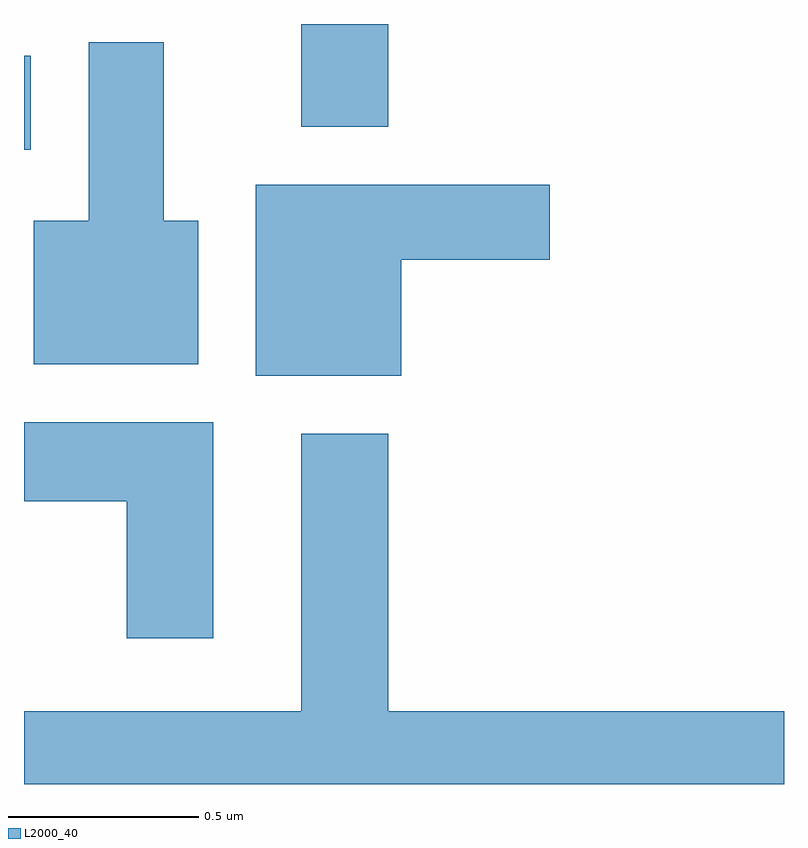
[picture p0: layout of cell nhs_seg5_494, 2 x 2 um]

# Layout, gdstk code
import gdstk
lib = gdstk.Library(unit=1e-6, precision=1e-09)
def R(c, l, rs):  # rectangles x0, y0, x1, y1
    for r in rs: c.add(gdstk.rectangle(r[:2], r[2:], *l))
def P(c, l, *ps):  # polygons
    for p in ps: c.add(gdstk.Polygon(p, *l))
L2000_40 = (2000, 40)

nhs_seg5_494 = lib.new_cell('nhs_seg5_494')
R(nhs_seg5_494, L2000_40, [(188.611,1480.741,188.629,1480.989), (189.341,1480.801,189.569,1481.072)])
P(nhs_seg5_494, L2000_40, [(189.069,1480.554),(188.979,1480.554),(188.979,1481.024),(188.781,1481.024),(188.781,1480.554),(188.636,1480.554),(188.636,1480.176),(189.069,1480.176)],
  [(189.604,1480.451),(189.994,1480.451),(189.994,1480.649),(189.221,1480.649),(189.221,1480.146),(189.604,1480.146)],
  [(189.109,1480.024),(188.611,1480.024),(188.611,1479.816),(188.881,1479.816),(188.881,1479.456),(189.109,1479.456)],
  [(190.611,1479.264),(189.569,1479.264),(189.569,1479.994),(189.341,1479.994),(189.341,1479.264),(188.611,1479.264),(188.611,1479.072),(190.611,1479.072)])

lib.write_gds('nhs_seg5_494.gds')
